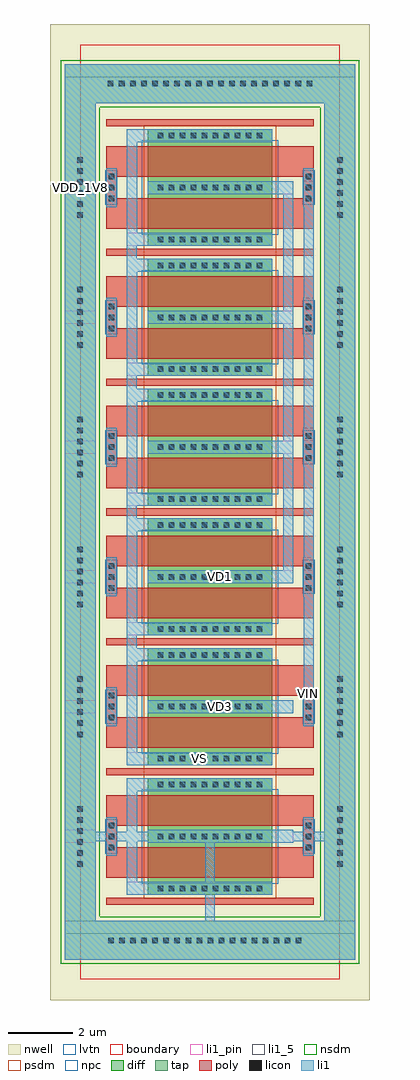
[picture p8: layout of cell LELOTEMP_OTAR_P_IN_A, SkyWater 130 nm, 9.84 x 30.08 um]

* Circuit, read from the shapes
.subckt LELOTEMP_OTAR_P_IN_A VD1 VD3 VDD_1V8 VIN VS
XM1 VDD_1V8 VDD_1V8 VDD_1V8 VDD_1V8 sky130_fd_pr__pfet_01v8_lvt w=3.84 l=0.94 m=2
XM2 VD3 VIN VS VDD_1V8 sky130_fd_pr__pfet_01v8_lvt w=3.84 l=0.94 m=2
XM3 VD1 VIN VS VDD_1V8 sky130_fd_pr__pfet_01v8_lvt w=3.84 l=0.94 m=8
.ends

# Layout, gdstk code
import gdstk
lib = gdstk.Library(unit=1e-6, precision=1e-09)
def R(c, l, rs):  # rectangles x0, y0, x1, y1
    for r in rs: c.add(gdstk.rectangle(r[:2], r[2:], *l))
def A(c, l, x, y, w, h, nx, ny, dx, dy):  # array of equal rectangles
    R(c, l, [(x+i*dx, y+j*dy, x+i*dx+w, y+j*dy+h) for i in range(nx) for j in range(ny)])
nwell = (64, 20)
diff = (65, 20)
tap = (65, 44)
poly = (66, 20)
licon = (66, 44)
li1_5 = (67, 5)
li1_pin = (67, 16)
li1 = (67, 20)
nsdm = (93, 44)
psdm = (94, 20)
npc = (95, 20)
lvtn = (125, 44)
boundary = (235, 4)

reyatr_pch_11ctaptop = lib.new_cell('REYATR_PCH_11CTAPTOP')
R(reyatr_pch_11ctaptop, nwell, [(-0.92,-0.64,8.92,3.04)])
R(reyatr_pch_11ctaptop, tap, [(-0.48,-0.2,0.48,0.6), (7.52,-0.2,8.48,0.6), (-0.48,0.6,8.48,1.8)])
A(reyatr_pch_11ctaptop, licon, 0.855, 1.115, 0.17, 0.17, 19, 1, 0.34, 0)
R(reyatr_pch_11ctaptop, li1_5, [(-0.48,1.4,8.48,1.8)])
R(reyatr_pch_11ctaptop, li1, [(-0.48,-0.2,0.48,0.6), (7.52,-0.2,8.48,0.6), (-0.48,0.6,8.48,1.8)])
R(reyatr_pch_11ctaptop, nsdm, [(-0.605,-0.325,0.605,0.475), (7.395,-0.325,8.605,0.475), (-0.605,0.475,8.605,1.925)])
R(reyatr_pch_11ctaptop, boundary, [(0,0,8,2.4)])
reyatr_pch_11ctaptop.add(gdstk.Label('B', (4,1.6), layer=67, texttype=5))

reyatr_pch_11ctapbot = lib.new_cell('REYATR_PCH_11CTAPBOT')
R(reyatr_pch_11ctapbot, nwell, [(-0.92,-0.64,8.92,3.04)])
R(reyatr_pch_11ctapbot, tap, [(-0.48,0.6,8.48,1.8), (-0.48,1.8,0.48,2.6), (7.52,1.8,8.48,2.6)])
A(reyatr_pch_11ctapbot, licon, 0.865, 1.115, 0.17, 0.17, 18, 1, 0.34, 0)
R(reyatr_pch_11ctapbot, li1_5, [(-0.48,1.4,8.48,1.8)])
R(reyatr_pch_11ctapbot, li1, [(-0.48,0.6,8.48,1.8), (-0.48,1.8,0.48,2.6), (7.52,1.8,8.48,2.6)])
R(reyatr_pch_11ctapbot, nsdm, [(-0.605,0.475,8.605,1.925), (-0.605,1.925,0.605,2.725), (7.395,1.925,8.605,2.725)])
R(reyatr_pch_11ctapbot, boundary, [(0,0,8,2.4)])
reyatr_pch_11ctapbot.add(gdstk.Label('B', (4,1.6), layer=67, texttype=5))

reyatr_lvt_pch_11c5f0 = lib.new_cell('REYATR_LVT_PCH_11C5F0')
R(reyatr_lvt_pch_11c5f0, nwell, [(-0.92,-0.64,8.92,4.64)])
R(reyatr_lvt_pch_11c5f0, diff, [(2.08,0.2,5.92,3.8)])
R(reyatr_lvt_pch_11c5f0, tap, [(-0.48,-0.2,0.48,4.2), (7.52,-0.2,8.48,4.2)])
R(reyatr_lvt_pch_11c5f0, poly, [(0.8,-0.11,7.2,0.11), (0.8,0.73,7.2,1.67), (0.8,1.67,1.12,2.33), (6.88,1.67,7.2,2.33), (0.8,2.33,7.2,3.27), (0.8,3.89,7.2,4.11)])
A(reyatr_lvt_pch_11c5f0, licon, 2.385, 0.315, 0.17, 0.17, 10, 3, 0.34, 1.6)
A(reyatr_lvt_pch_11c5f0, licon, -0.085, 1.065, 0.17, 0.17, 1, 6, 0, 0.34)
A(reyatr_lvt_pch_11c5f0, licon, 7.915, 1.065, 0.17, 0.17, 1, 6, 0, 0.34)
A(reyatr_lvt_pch_11c5f0, licon, 0.875, 1.575, 0.17, 0.17, 1, 3, 0, 0.34)
A(reyatr_lvt_pch_11c5f0, licon, 6.955, 1.575, 0.17, 0.17, 1, 3, 0, 0.34)
R(reyatr_lvt_pch_11c5f0, li1_pin, [(1.44,0.2,5.92,0.6), (-0.48,1.8,0.48,2.2), (2.08,1.8,6.56,2.2), (6.88,2.2,7.2,2.6)])
R(reyatr_lvt_pch_11c5f0, li1, [(-0.48,-0.2,0.48,4.2), (7.52,-0.2,8.48,4.2), (1.44,0.2,5.92,0.6), (1.44,0.6,1.76,3.4), (0.8,1.4,1.12,2.6), (6.88,1.4,7.2,2.6), (2.08,1.8,6.56,2.2), (1.44,3.4,5.92,3.8)])
R(reyatr_lvt_pch_11c5f0, nsdm, [(-0.605,-0.325,0.605,4.325), (7.395,-0.325,8.605,4.325)])
R(reyatr_lvt_pch_11c5f0, psdm, [(1.955,0.075,6.045,3.925)])
R(reyatr_lvt_pch_11c5f0, npc, [(0.775,1.475,1.145,2.525), (6.855,1.475,7.225,2.525)])
R(reyatr_lvt_pch_11c5f0, lvtn, [(1.9,0.55,6.1,3.45)])
R(reyatr_lvt_pch_11c5f0, boundary, [(0,0,8,4)])
reyatr_lvt_pch_11c5f0.add(gdstk.Label('D', (4.32,2), layer=67, texttype=5))
reyatr_lvt_pch_11c5f0.add(gdstk.Label('G', (7.04,2.4), layer=67, texttype=5))
reyatr_lvt_pch_11c5f0.add(gdstk.Label('S', (3.68,0.4), layer=67, texttype=5))
reyatr_lvt_pch_11c5f0.add(gdstk.Label('B', (0,2), layer=67, texttype=5))

lelotemp_otar_p_in_a = lib.new_cell('LELOTEMP_OTAR_P_IN_A')
R(lelotemp_otar_p_in_a, li1_pin, [(1.44,6.6,5.92,7), (2.08,8.2,6.56,8.6), (6.88,8.6,7.2,9), (2.08,12.2,6.56,12.6), (-0.48,24.2,0.48,24.6)])
R(lelotemp_otar_p_in_a, li1, [(3.85,1.2,4.15,4.25), (0,4.25,8,4.55), (1.44,6.6,5.92,7), (1.44,7,1.74,23), (-0.15,8.2,0.15,24.2), (2.08,8.2,6.56,8.6), (6.88,8.6,7.2,9), (6.89,9,7.19,25), (2.08,12.2,6.56,12.6), (6.26,12.6,6.56,24.6), (-0.48,24.2,0.48,24.6)])
A(lelotemp_otar_p_in_a, psdm, 1.955, 6.325, 4.09, 0.15, 1, 5, 0, 4)
R(lelotemp_otar_p_in_a, boundary, [(0,0,8,28.8)])
lelotemp_otar_p_in_a.add(gdstk.Reference(reyatr_pch_11ctaptop, (0,26.4)))
lelotemp_otar_p_in_a.add(gdstk.Reference(reyatr_pch_11ctapbot, (0,0)))
lelotemp_otar_p_in_a.add(gdstk.Reference(reyatr_lvt_pch_11c5f0, (0,2.4)))
lelotemp_otar_p_in_a.add(gdstk.Reference(reyatr_lvt_pch_11c5f0, (0,22.4)))
lelotemp_otar_p_in_a.add(gdstk.Reference(reyatr_lvt_pch_11c5f0, (0,18.4)))
lelotemp_otar_p_in_a.add(gdstk.Reference(reyatr_lvt_pch_11c5f0, (0,14.4)))
lelotemp_otar_p_in_a.add(gdstk.Reference(reyatr_lvt_pch_11c5f0, (0,10.4)))
lelotemp_otar_p_in_a.add(gdstk.Reference(reyatr_lvt_pch_11c5f0, (0,6.4)))
lelotemp_otar_p_in_a.add(gdstk.Label('VD1', (4.32,12.4), layer=67, texttype=5))
lelotemp_otar_p_in_a.add(gdstk.Label('VD3', (4.32,8.4), layer=67, texttype=5))
lelotemp_otar_p_in_a.add(gdstk.Label('VDD_1V8', (0,24.4), layer=67, texttype=5))
lelotemp_otar_p_in_a.add(gdstk.Label('VIN', (7.04,8.8), layer=67, texttype=5))
lelotemp_otar_p_in_a.add(gdstk.Label('VS', (3.68,6.8), layer=67, texttype=5))

lib.write_gds('LELOTEMP_OTAR_P_IN_A.gds')
